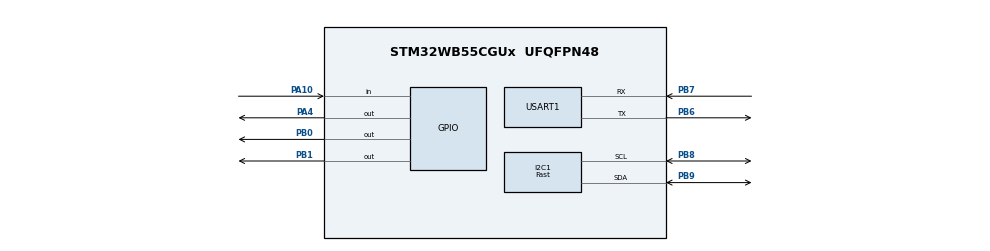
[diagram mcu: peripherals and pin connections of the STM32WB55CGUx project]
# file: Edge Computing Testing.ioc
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I2C1.I2C_Speed_Mode=I2C_Fast
I2C1.Timing=0x00000003
Mcu.Family=STM32WB
Mcu.Name=STM32WB55CGUx
Mcu.Package=UFQFPN48
NVIC.PriorityGroup=NVIC_PRIORITYGROUP_4
OSC_IN.GPIO_Label=RCC_OSC_IN
OSC_IN.Signal=RCC_OSC_IN
OSC_OUT.GPIO_Label=RCC_OSC_OUT
OSC_OUT.Signal=RCC_OSC_OUT
PA10.Signal=GPIO_Input
PA11.GPIO_Label=USB_DM
PA11.Signal=USB_DM
PA12.GPIO_Label=USB_DP
PA12.Signal=USB_DP
PA13.GPIO_Label=JTMS
PA13.Signal=SYS_JTMS-SWDIO
PA14.GPIO_Label=JTCK
PA14.Signal=SYS_JTCK-SWCLK
PA4.Signal=GPIO_Output
PB0.Signal=GPIO_Output
PB1.Signal=GPIO_Output
PB3.GPIO_Label=JTDO
PB3.Signal=SYS_JTDO-SWO
PB6.Mode=Asynchronous
PB6.Signal=USART1_TX
PB7.Mode=Asynchronous
PB7.Signal=USART1_RX
PB8.Mode=I2C
PB8.Signal=I2C1_SCL
PB9.Mode=I2C
PB9.Signal=I2C1_SDA
PC14-OSC32_IN.GPIO_Label=RCC_OSC32_IN
PC14-OSC32_IN.Signal=RCC_OSC32_IN
PC15-OSC32_OUT.GPIO_Label=RCC_OSC32_OUT
PC15-OSC32_OUT.Signal=RCC_OSC32_OUT
ProjectManager.HeapSize=0x200
ProjectManager.StackSize=0x400
ProjectManager.TargetToolchain=STM32CubeIDE
RCC.ADCFreq_Value=48000000
RCC.AHBFreq_Value=4000000
RCC.APB1Freq_Value=4000000
RCC.APB1TimFreq_Value=4000000
RCC.APB2Freq_Value=4000000
RCC.APB2TimFreq_Value=4000000
RCC.APB3Freq_Value=16000000
RCC.CortexFreq_Value=4000000
RCC.HCLKFreq_Value=4000000
RCC.HSE_VALUE=32000000
RCC.HSI48_VALUE=48000000
RCC.HSI_VALUE=16000000
RCC.LSE_VALUE=32768
RCC.PLLN=32
RCC.PLLSAI1N=24
RCC.SMPSDivider=1
RCC.SYSCLKFreq_VALUE=4000000
RCC.USBFreq_Value=48000000
RCC.VCOOutputFreq_Value=128000000
USART1.VirtualMode-Asynchronous=VM_ASYNC
VP_MEMORYMAP_VS_MEMORYMAP.Mode=CurAppReg
VP_P-NUCLEO-WB55-USBDONGLE_VS_BSP_COMMON.Mode=COMMON
board=P-NUCLEO-WB55-USBDONGLE

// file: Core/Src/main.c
/* USER CODE BEGIN Header */
/**
  ******************************************************************************
  * @file           : main.c
  * @brief          : Main program body with BME688 Single Gas Resistance reading,
  *                   Time-based Warm-up, Calibration, and Normalised NanoEdge AI
  ******************************************************************************
  * @attention
  *
  * Copyright (c) 2025 STMicroelectronics.
  * All rights reserved.
  *
  * This software is licensed under terms that can be found in the LICENSE file
  * in the root directory of this software component.
  * If no LICENSE file comes with this software, it is provided AS-IS.
  *
  ******************************************************************************
  */
/* USER CODE END Header */
#include "main.h"
#include "NanoEdgeAI.h"
/* USER CODE BEGIN Includes */
#include <stdio.h>
/* USER CODE END Includes */
/* USER CODE BEGIN PTD */
typedef struct {
    // Temperature
    uint16_t par_t1;
    int16_t  par_t2;
    int8_t   par_t3;
    // Pressure
    uint16_t par_p1;
    int16_t  par_p2;
    int8_t   par_p3;
    int16_t  par_p4;
    int16_t  par_p5;
    int8_t   par_p6;
    int8_t   par_p7;
    int16_t  par_p8;
    int16_t  par_p9;
    uint8_t  par_p10;
    // Humidity
    uint16_t par_h1;
    uint16_t par_h2;
    int8_t   par_h3;
    int8_t   par_h4;
    int8_t   par_h5;
    uint8_t  par_h6;
    int8_t   par_h7;
    // Gas Resistance
    int8_t   par_g1;
    int16_t  par_g2;
    int8_t   par_g3;
    uint8_t  res_heat_range;
    int8_t   res_heat_val;
    // Global temperature fine value (required for P/H calc)
    int32_t  t_fine;
} BME688_Calib;
typedef struct {
    float temperature;
    float pressure;
    float humidity;
    float gas_resistance;
} BME688_Data;
/* USER CODE END PTD */
/* USER CODE BEGIN PD */
/* BME688 Device Definitions */
#define BME688_ADDR 0x76 << 1
#define REG_ID      0xD0
#define REG_RESET   0xE0
#define REG_CTRL_HUM 0x72
#define REG_CTRL_MEAS 0x74
#define REG_CONFIG  0x75
#define REG_CTRL_GAS_1 0x71
#define REG_CTRL_GAS_0 0x70
/* BME688 Data Registers */
#define REG_PRESS_MSB 0x1F
#define REG_TEMP_MSB  0x22
#define REG_HUM_MSB   0x25
#define REG_GAS_WAIT_0 0x64
#define REG_RES_HEAT_0 0x5A
#define REG_GAS_MSB    0x2C
/* USER CODE END PD */
I2C_HandleTypeDef hi2c1;
UART_HandleTypeDef huart1;
/* USER CODE BEGIN PV */
extern UART_HandleTypeDef huart1;
static BME688_Calib calib;
enum neai_state neai_status;
int id_class;

// NanoEdge expects exactly 4 features (Temperature, Humidity, Pressure, Gas Ratio)
float input_signal[4];
float probabilities[NEAI_NUMBER_OF_CLASSES];

/* Time-based Warm-up and Baseline Calibration variables */
uint32_t start_time_ms = 0;
float gas_baseline = 0.0f;  // Single baseline resistance
float gas_sum = 0.0f;       // Aggregator for clean air gas resistance
uint32_t gas_count = 0;
uint8_t calibration_complete = 0;
/* USER CODE END PV */
void SystemClock_Config(void);
void PeriphCommonClock_Config(void);
static void MX_GPIO_Init(void);
static void MX_I2C1_Init(void);
static void MX_USART1_UART_Init(void);
/* USER CODE BEGIN PFP */
void BME688_Init(I2C_HandleTypeDef *hi2c);
uint8_t BME688_CalcHeaterRes(uint16_t target_temp, uint16_t amb_temp);
void BME688_TriggerMeasurement(I2C_HandleTypeDef *hi2c);
int32_t BME688_ReadTemperature(I2C_HandleTypeDef *hi2c, int field);
int32_t BME688_ReadPressure(I2C_HandleTypeDef *hi2c, int field);
int32_t BME688_ReadHumidity(I2C_HandleTypeDef *hi2c, int field);
int32_t BME688_ReadGasResistance(I2C_HandleTypeDef *hi2c, int field);
int BME688_GetNewestField(I2C_HandleTypeDef *hi2c);
/* USER CODE END PFP */
/* USER CODE BEGIN 0 */
int __io_putchar(int ch)
{
    HAL_UART_Transmit(&huart1, (uint8_t*)&ch, 1, HAL_MAX_DELAY);
    return ch;
}
/* USER CODE END 0 */
void BME688_Init(I2C_HandleTypeDef *hi2c) {
    uint8_t coeff_array1[25]; // 0x89 to 0xA1
    uint8_t coeff_array2[16]; // 0xE1 to 0xF0
    uint8_t heat_calib[3];    // 0x00 to 0x02
    // Read calibration data
    HAL_I2C_Mem_Read(hi2c, BME688_ADDR, 0x89, 1, coeff_array1, 25, 100);
    HAL_I2C_Mem_Read(hi2c, BME688_ADDR, 0xE1, 1, coeff_array2, 16, 100);
    HAL_I2C_Mem_Read(hi2c, BME688_ADDR, 0x00, 1, heat_calib, 3, 100);
    // Parse Temperature Calib
    calib.par_t1 = (uint16_t)((coeff_array2[9] << 8) | coeff_array2[8]);
    calib.par_t2 = (int16_t)((coeff_array1[2] << 8) | coeff_array1[1]);
    calib.par_t3 = (int8_t)(coeff_array1[3]);
    // Parse Pressure Calib
    calib.par_p1 = (uint16_t)((coeff_array1[6] << 8) | coeff_array1[5]);
    calib.par_p2 = (int16_t)((coeff_array1[8] << 8) | coeff_array1[7]);
    calib.par_p3 = (int8_t)(coeff_array1[9]);
    calib.par_p4 = (int16_t)((coeff_array1[12] << 8) | coeff_array1[11]);
    calib.par_p5 = (int16_t)((coeff_array1[14] << 8) | coeff_array1[13]);
    calib.par_p6 = (int8_t)(coeff_array1[16]);
    calib.par_p7 = (int8_t)(coeff_array1[15]);
    calib.par_p8 = (int16_t)((coeff_array1[20] << 8) | coeff_array1[19]);
    calib.par_p9 = (int16_t)((coeff_array1[22] << 8) | coeff_array1[21]);
    calib.par_p10 = (uint8_t)(coeff_array1[23]);
    // Parse Humidity Calib
    calib.par_h1 = (uint16_t)(((uint16_t)coeff_array2[2] << 4) | (coeff_array2[1] & 0x0F));
    calib.par_h2 = (uint16_t)(((uint16_t)coeff_array2[0] << 4) | ((coeff_array2[1] & 0xF0) >> 4));
    calib.par_h3 = (int8_t)coeff_array2[3];
    calib.par_h4 = (int8_t)coeff_array2[4];
    calib.par_h5 = (int8_t)coeff_array2[5];
    calib.par_h6 = (uint8_t)coeff_array2[6];
    calib.par_h7 = (int8_t)coeff_array2[7];
    // Parse Gas Calib
    calib.par_g1 = (int8_t)coeff_array2[12];
    calib.par_g2 = (int16_t)((coeff_array2[11] << 8) | coeff_array2[10]);
    calib.par_g3 = (int8_t)coeff_array2[13];
    calib.res_heat_val = (int8_t)heat_calib[0];
    calib.res_heat_range = (uint8_t)((heat_calib[2] >> 4) & 0x03);
}
uint8_t BME688_CalcHeaterRes(uint16_t target_temp, uint16_t amb_temp) {
    if (target_temp > 400) target_temp = 400;
    int32_t var1, var2, var3, var4, var5;
    int32_t res_heat_x100;
    uint8_t res_heat_x;
    var1 = (((int32_t)amb_temp * (int32_t)calib.par_g3) / 10) << 8;
    var2 = ((int32_t)calib.par_g1 + 784) *
           ((((((int32_t)calib.par_g2 + 154009) * (int32_t)target_temp * 5) / 100) + 3276800) / 10);
    var3 = var1 + (var2 >> 1);
    var4 = var3 / ((int32_t)calib.res_heat_range + 4);
    var5 = (131 * (int32_t)calib.res_heat_val) + 65536;
    res_heat_x100 = (((var4 / var5) - 250) * 34);
    res_heat_x = (uint8_t)((res_heat_x100 + 50) / 100);
    if (res_heat_x > 255) res_heat_x = 255;
    return res_heat_x;
}
void BME688_TriggerMeasurement(I2C_HandleTypeDef *hi2c) {
    uint8_t osrs_h = 0x01;
    HAL_I2C_Mem_Write(hi2c, BME688_ADDR, REG_CTRL_HUM, 1, &osrs_h, 1, 100);
    uint8_t res_heat = BME688_CalcHeaterRes(320, 25);
    HAL_I2C_Mem_Write(hi2c, BME688_ADDR, REG_RES_HEAT_0, 1, &res_heat, 1, 100);
    uint8_t gas_wait;
    uint16_t duration_ms = 250;
    if (duration_ms <= 63) {
        gas_wait = duration_ms;
    } else if (duration_ms <= 252) {
        gas_wait = 0x40 | ((duration_ms + 2) / 4);
    } else if (duration_ms <= 1008) {
        gas_wait = 0x80 | ((duration_ms + 8) / 16);
    } else {
        gas_wait = 0xC0 | ((duration_ms + 32) / 64);
    }
    HAL_I2C_Mem_Write(hi2c, BME688_ADDR, REG_GAS_WAIT_0, 1, &gas_wait, 1, 100);
    uint8_t ctrl_gas = 0x20;
    HAL_I2C_Mem_Write(hi2c, BME688_ADDR, REG_CTRL_GAS_1, 1, &ctrl_gas, 1, 100);
    uint8_t ctrl_meas = 0x55;
    HAL_I2C_Mem_Write(hi2c, BME688_ADDR, REG_CTRL_MEAS, 1, &ctrl_meas, 1, 100);
}
int BME688_GetNewestField(I2C_HandleTypeDef *hi2c) {
    uint8_t status;
    // Check Field 0 (Status Register: 0x1D)
    if (HAL_I2C_Mem_Read(hi2c, BME688_ADDR, 0x1D, 1, &status, 1, 100) == HAL_OK) {
        if (status & 0x80) {
            return 0;
        }
    }
    // Check Field 1 (Status Register: 0x2F)
    if (HAL_I2C_Mem_Read(hi2c, BME688_ADDR, 0x2F, 1, &status, 1, 100) == HAL_OK) {
        if (status & 0x80) {
            return 1;
        }
    }
    // Check Field 2 (Status Register: 0x41)
    if (HAL_I2C_Mem_Read(hi2c, BME688_ADDR, 0x41, 1, &status, 1, 100) == HAL_OK) {
        if (status & 0x80) {
            return 2;
        }
    }
    return -1;
}
int32_t BME688_ReadTemperature(I2C_HandleTypeDef *hi2c, int field) {
    uint8_t temp_data[3];
    uint8_t reg_addr = 0x22 + (field * 18);
    HAL_I2C_Mem_Read(hi2c, BME688_ADDR, reg_addr, 1, temp_data, 3, 100);
    uint32_t adc_t = (uint32_t)(((uint32_t)temp_data[0] << 12) |
                                 ((uint32_t)temp_data[1] << 4) |
                                 ((uint32_t)temp_data[2] >> 4));
    int64_t var1, var2, var3;
    var1 = ((int32_t)adc_t >> 3) - ((int32_t)calib.par_t1 << 1);
    var2 = (var1 * (int32_t)calib.par_t2) >> 11;
    var3 = ((((var1 >> 1) * (var1 >> 1)) >> 12) * ((int32_t)calib.par_t3 << 4)) >> 14;
    calib.t_fine = (int32_t)(var2 + var3);
    int32_t temperature = ((calib.t_fine * 5) + 128) >> 8;
    return temperature;
}
int32_t BME688_ReadPressure(I2C_HandleTypeDef *hi2c, int field) {
    uint8_t press_data[3];
    uint8_t reg_addr = 0x1F + (field * 18);
    HAL_I2C_Mem_Read(hi2c, BME688_ADDR, reg_addr, 1, press_data, 3, 100);
    uint32_t adc_p = (uint32_t)(((uint32_t)press_data[0] << 12) |
                                 ((uint32_t)press_data[1] << 4) |
                                 ((uint32_t)press_data[2] >> 4));
    int64_t var1, var2;
    var1 = ((int64_t)calib.t_fine >> 1) - 64000;
    var2 = ((((var1 >> 2) * (var1 >> 2)) >> 11) * (int64_t)calib.par_p6) >> 2;
    var2 = var2 + ((var1 * (int64_t)calib.par_p5) << 1);
    var2 = (var2 >> 2) + ((int64_t)calib.par_p4 << 16);
    var1 = (((((var1 >> 2) * (var1 >> 2)) >> 13) * ((int64_t)calib.par_p3 << 5)) >> 3) +
           (((int64_t)calib.par_p2 * var1) >> 1);
    var1 = var1 >> 18;
    var1 = ((32768 + var1) * (int64_t)calib.par_p1) >> 15;
    if (var1 == 0) return 0;
    uint32_t calc_pres = (uint32_t)(((uint32_t)(1048576 - adc_p) - (var2 >> 12)) * 3125);
    if (calc_pres < 0x80000000)
        calc_pres = (calc_pres << 1) / ((uint32_t)var1);
    else
        calc_pres = (calc_pres / (uint32_t)var1) * 2;
    var1 = ((int64_t)calib.par_p9 * (int64_t)(((calc_pres >> 3) * (calc_pres >> 3)) >> 13)) >> 12;
    var2 = ((int64_t)(calc_pres >> 2) * (int64_t)calib.par_p8) >> 13;
    int32_t var3_p = ((int32_t)(calc_pres >> 8) * (int32_t)(calc_pres >> 8) *
                      (int32_t)(calc_pres >> 8) * (int32_t)calib.par_p10) >> 17;
    calc_pres = (int32_t)(calc_pres) + ((var1 + var2 + var3_p + ((int64_t)calib.par_p7 << 7)) >> 4);
    return (int32_t)calc_pres;
}
int32_t BME688_ReadHumidity(I2C_HandleTypeDef *hi2c, int field) {
    uint8_t hum_data[2];
    uint8_t reg_addr = 0x25 + (field * 18);
    HAL_I2C_Mem_Read(hi2c, BME688_ADDR, reg_addr, 1, hum_data, 2, 100);
    uint16_t adc_h = (uint16_t)(((uint32_t)hum_data[0] << 8) | (uint32_t)hum_data[1]);
    int32_t var1, var2, var3, var4, var5, var6;
    int32_t temp_scaled;
    temp_scaled = (((int32_t)calib.t_fine * 5) + 128) >> 8;
    var1 = (int32_t)adc_h - ((int32_t)((int32_t)calib.par_h1 * 16)) -
           (((temp_scaled * (int32_t)calib.par_h3) / ((int32_t)100)) >> 1);
    var2 = ((int32_t)calib.par_h2 *
           (((temp_scaled * (int32_t)calib.par_h4) / ((int32_t)100)) +
           (((temp_scaled * ((temp_scaled * (int32_t)calib.par_h5) / ((int32_t)100))) >> 6) /
           ((int32_t)100)) + (int32_t)(1 << 14))) >> 10;
    var3 = var1 * var2;
    var4 = (int32_t)calib.par_h6 << 7;
    var4 = ((var4) + ((temp_scaled * (int32_t)calib.par_h7) / ((int32_t)100))) >> 4;
    var5 = ((var3 >> 14) * (var3 >> 14)) >> 10;
    var6 = (var4 * var5) >> 1;
    int32_t calc_hum = (((var3 + var6) >> 10) * ((int32_t)1000)) >> 12;
    if (calc_hum > 100000) calc_hum = 100000;
    if (calc_hum < 0) calc_hum = 0;
    return calc_hum;
}
int32_t BME688_ReadGasResistance(I2C_HandleTypeDef *hi2c, int field) {
    uint8_t gas_data[2];
    uint8_t reg_addr = 0x2C + (field * 18);
    HAL_I2C_Mem_Read(hi2c, BME688_ADDR, reg_addr, 1, gas_data, 2, 100);
    uint8_t gas_msb = gas_data[0];
    uint8_t gas_lsb = gas_data[1];
    int gas_valid = (gas_lsb & 0x20);
    int heat_stab = (gas_lsb & 0x10);
    if (!gas_valid || !heat_stab) {
        return 0;
    }
    uint16_t gas_adc = ((uint16_t)gas_msb << 2) | ((uint16_t)(gas_lsb >> 6) & 0x03);
    uint8_t gas_range = gas_lsb & 0x0F;
    uint32_t var1 = 262144UL >> gas_range;
    int32_t var2 = (int32_t)gas_adc - 512;
    var2 = var2 * 3 + 4096;
    if (var2 != 0) {
        uint32_t gas_res = (10000UL * var1) / (uint32_t)var2;
        gas_res = gas_res * 100;
        return (int32_t)gas_res;
    }
    return 0;
}
int main(void)
{
  /* MCU Configuration--------------------------------------------------------*/
  /* Reset of all peripherals, Initializes the Flash interface and the Systick. */
  HAL_Init();
  /* Configure the system clock */
  SystemClock_Config();
  /* Configure the peripherals common clocks */
  PeriphCommonClock_Config();
  /* Initialize all configured peripherals */
  MX_GPIO_Init();
  MX_I2C1_Init();
  MX_USART1_UART_Init();
  /* USER CODE BEGIN 2 */
  // Initialize start time for timing phases
  start_time_ms = HAL_GetTick();
  printf("\r\n==================================================\r\n");
  printf("  BME688 SENSOR SINGLE-GAS CLASSIFIER STARTS\r\n");
  printf("==================================================\r\n");
  printf("Phase 1: Warm-up & Sensor Stabilization (1 minute)\r\n");
  printf("Please keep sensor in CLEAN AIR environment...\r\n");
  printf("--------------------------------------------------\r\n\r\n");
  // 1. Initialize the sensor
  BME688_Init(&hi2c1);
  neai_status = neai_classification_init();
  if(neai_status != NEAI_OK)
  {
      printf("NanoEdge Init Failed\r\n");
      Error_Handler();
  }
  else
  {
      printf("NanoEdge Init Success\r\n");
  }
  // 2. Trigger the very first measurement so it is ready
  BME688_TriggerMeasurement(&hi2c1);
  /* USER CODE END 2 */
  /* Infinite loop */
  while (1)
  {

    // 1. Trigger the single gas measurement (uses 320°C heater for 250ms)
    BME688_TriggerMeasurement(&hi2c1);

    // Wait for the measurement to complete (250ms heating + 30ms sensor readout overhead)
    HAL_Delay(280);

    // 2. Dynamically retrieve the field index containing the fresh measurement
    int field = BME688_GetNewestField(&hi2c1);
    if (field == -1) {
        field = 0; // Fallback to field 0 if no new data flag was set
    }

    // 3. Read the raw environmental and single gas resistance values
    int32_t raw_temp     = BME688_ReadTemperature(&hi2c1, field);     // centidegrees
    int32_t raw_pressure = BME688_ReadPressure(&hi2c1, field);        // Pa
    int32_t raw_humidity = BME688_ReadHumidity(&hi2c1, field);        // millipercent
    int32_t raw_gas      = BME688_ReadGasResistance(&hi2c1, field);   // Ohms

    // Convert raw BME688 values to human-readable standard floats
    float temp_f  = (float)raw_temp / 100.0f;
    float press_f = (float)raw_pressure / 100.0f;
    float hum_f   = (float)raw_humidity / 1000.0f;

    // Time calculations
    uint32_t elapsed_ms = HAL_GetTick() - start_time_ms;

    // ==============================================================
    // PHASE 1: WARM-UP & STABILIZATION (0 to 60,000 ms = First 1 Min)
    // ==============================================================
    if (elapsed_ms < 60000)
    {
        uint32_t remaining = (60000 - elapsed_ms) / 1000;
        printf("[WARMUP] Ignoring data... %2lu sec remaining. Gas: %ld Ohms\r\n",
               remaining, raw_gas);
    }
    // ==============================================================
    // PHASE 2: RECORD & CALIBRATE BASELINE (60,000 to 180,000 ms = Next 2 Mins)
    // ==============================================================
    else if (elapsed_ms >= 60000 && elapsed_ms < 180000)
    {
        uint32_t remaining = (180000 - elapsed_ms) / 1000;

        static uint8_t calib_started = 0;
        if (!calib_started) {
            printf("\r\n--------------------------------------------------\r\n");
            printf("Phase 2: Recording Clean Air Gas Baseline (2 minutes)\r\n");
            printf("Keep sensor in CLEAN AIR to collect baseline reference...\r\n");
            printf("--------------------------------------------------\r\n\r\n");
            calib_started = 1;
        }

        // Accumulate baseline values for the single gas resistance step!
        if (raw_gas > 0)
        {
            gas_sum += (float)raw_gas;
            gas_count++;
            printf("[CALIBRATION] Recording baseline... %3lu sec remaining. Gas: %ld Ohms (Count: %lu)\r\n",
                   remaining, raw_gas, gas_count);
        }
        else
        {
            printf("[CALIBRATION] Recording... %3lu sec remaining. [Sensor Waiting]\r\n", remaining);
        }
    }
    // ==============================================================
    // PHASE 3: LIVE TESTING & NANOEDGE AI CLASSIFICATION (>= 180,000 ms)
    // ==============================================================
    else
    {
        // One-time baseline calculation when transitioning to Phase 3
        if (!calibration_complete)
        {
            if (gas_count > 0)
            {
                gas_baseline = gas_sum / gas_count;
                printf("\r\n==================================================\r\n");
                printf("  CALIBRATION COMPLETE!\r\n");
                printf("  Established Baseline (R0) for Single Gas: %.2f Ohms\r\n", gas_baseline);
                printf("  Starting Live NanoEdge AI Testing...\r\n");
                printf("==================================================\r\n\r\n");
            }
            else
            {
                // Fallback baseline value if no readings succeeded
                gas_baseline = 17800.0f; // Default baseline based on Experiment 1 clean air median
                printf("\r\n==================================================\r\n");
                printf("  CALIBRATION WARNING!\r\n");
                printf("  No valid gas readings during calibration phase. Using fallback R0: %.2f Ohms\r\n", gas_baseline);
                printf("==================================================\r\n\r\n");
            }
            calibration_complete = 1;
        }

        // Normalize single gas resistance using the clean air baseline reference R0
        float normalized_gas = 1.0f; // Default ratio
        if (raw_gas > 0 && gas_baseline > 0.0f) {
            normalized_gas = (float)raw_gas / gas_baseline;
        }

        // Fill NanoEdge AI input buffer matching the CSV schema:
        // Index 0: Temperature, Index 1: Pressure, Index 2: Humidity, Index 3: Gas Ratio
        input_signal[0] = temp_f;
        input_signal[1] = press_f;
        input_signal[2] = hum_f;
        input_signal[3] = normalized_gas;

        /* Run NanoEdge AI classification */
        neai_status = neai_classification(input_signal, probabilities, &id_class);
                if(neai_status == NEAI_OK)
                {
                    const char *class_name = neai_get_class_name(id_class);
                    printf("[TESTING] Pred: %s (Prob: %.2f) | Probs -> [", class_name, probabilities[id_class]);

                    // Dynamically print the probability of every class in the library
                    for (int i = 0; i < NEAI_NUMBER_OF_CLASSES; i++) {
                        printf("%s: %.2f", neai_get_class_name(i), probabilities[i]);
                        if (i < NEAI_NUMBER_OF_CLASSES - 1) {
                            printf(", ");
                        }
                    }
                    printf("] | Temp: %.2fC | Hum: %.2f%% | Gas Ratio: %.3f (Raw: %ld Ohms)\r\n",
                           temp_f,
                           hum_f,
                           normalized_gas,
                           raw_gas);
                }
                else
                {
                    printf("[TESTING] Classification Error (%d)\r\n", neai_status);
                }
            }
    HAL_Delay(1000); // 1-second interval between loop cycles
  }
}
void SystemClock_Config(void)
{
  RCC_OscInitTypeDef RCC_OscInitStruct = {0};
  RCC_ClkInitTypeDef RCC_ClkInitStruct = {0};
  /** Configure the main internal regulator output voltage
  */
  __HAL_PWR_VOLTAGESCALING_CONFIG(PWR_REGULATOR_VOLTAGE_SCALE1);
  /** Initializes the RCC Oscillators according to the specified parameters
  * in the RCC_OscInitTypeDef structure.
  */
  RCC_OscInitStruct.OscillatorType = RCC_OSCILLATORTYPE_HSI|RCC_OSCILLATORTYPE_MSI;
  RCC_OscInitStruct.HSIState = RCC_HSI_ON;
  RCC_OscInitStruct.MSIState = RCC_MSI_ON;
  RCC_OscInitStruct.HSICalibrationValue = RCC_HSICALIBRATION_DEFAULT;
  RCC_OscInitStruct.MSICalibrationValue = RCC_MSICALIBRATION_DEFAULT;
  RCC_OscInitStruct.MSIClockRange = RCC_MSIRANGE_6;
  RCC_OscInitStruct.PLL.PLLState = RCC_PLL_NONE;
  if (HAL_RCC_OscConfig(&RCC_OscInitStruct) != HAL_OK)
  {
    Error_Handler();
  }
  /** Configure the SYSCLKSource, HCLK, PCLK1 and PCLK2 clocks dividers
  */
  RCC_ClkInitStruct.ClockType = RCC_CLOCKTYPE_HCLK4|RCC_CLOCKTYPE_HCLK2
                              |RCC_CLOCKTYPE_HCLK|RCC_CLOCKTYPE_SYSCLK
                              |RCC_CLOCKTYPE_PCLK1|RCC_CLOCKTYPE_PCLK2;
  RCC_ClkInitStruct.SYSCLKSource = RCC_SYSCLKSOURCE_MSI;
  RCC_ClkInitStruct.AHBCLKDivider = RCC_SYSCLK_DIV1;
  RCC_ClkInitStruct.APB1CLKDivider = RCC_HCLK_DIV1;
  RCC_ClkInitStruct.APB2CLKDivider = RCC_HCLK_DIV1;
  RCC_ClkInitStruct.AHBCLK2Divider = RCC_SYSCLK_DIV1;
  RCC_ClkInitStruct.AHBCLK4Divider = RCC_SYSCLK_DIV1;
  if (HAL_RCC_ClockConfig(&RCC_ClkInitStruct, FLASH_LATENCY_0) != HAL_OK)
  {
    Error_Handler();
  }
}
void PeriphCommonClock_Config(void)
{
  RCC_PeriphCLKInitTypeDef PeriphClkInitStruct = {0};
  /** Initializes the peripherals clock
  */
  PeriphClkInitStruct.PeriphClockSelection = RCC_PERIPHCLK_SMPS;
  PeriphClkInitStruct.SmpsClockSelection = RCC_SMPSCLKSOURCE_HSI;
  PeriphClkInitStruct.SmpsDivSelection = RCC_SMPSCLKDIV_RANGE0;
  if (HAL_RCCEx_PeriphCLKConfig(&PeriphClkInitStruct) != HAL_OK)
  {
    Error_Handler();
  }
}
static void MX_I2C1_Init(void)
{
  hi2c1.Instance = I2C1;
  hi2c1.Init.Timing = 0x00000003;
  hi2c1.Init.OwnAddress1 = 0;
  hi2c1.Init.AddressingMode = I2C_ADDRESSINGMODE_7BIT;
  hi2c1.Init.DualAddressMode = I2C_DUALADDRESS_DISABLE;
  hi2c1.Init.OwnAddress2 = 0;
  hi2c1.Init.OwnAddress2Masks = I2C_OA2_NOMASK;
  hi2c1.Init.GeneralCallMode = I2C_GENERALCALL_DISABLE;
  hi2c1.Init.NoStretchMode = I2C_NOSTRETCH_DISABLE;
  if (HAL_I2C_Init(&hi2c1) != HAL_OK)
  {
    Error_Handler();
  }
  /** Configure Analogue filter
  */
  if (HAL_I2CEx_ConfigAnalogFilter(&hi2c1, I2C_ANALOGFILTER_ENABLE) != HAL_OK)
  {
    Error_Handler();
  }
  /** Configure Digital filter
  */
  if (HAL_I2CEx_ConfigDigitalFilter(&hi2c1, 0) != HAL_OK)
  {
    Error_Handler();
  }
}
static void MX_USART1_UART_Init(void)
{
  huart1.Instance = USART1;
  huart1.Init.BaudRate = 115200;
  huart1.Init.WordLength = UART_WORDLENGTH_8B;
  huart1.Init.StopBits = UART_STOPBITS_1;
  huart1.Init.Parity = UART_PARITY_NONE;
  huart1.Init.Mode = UART_MODE_TX_RX;
  huart1.Init.HwFlowCtl = UART_HWCONTROL_NONE;
  huart1.Init.OverSampling = UART_OVERSAMPLING_16;
  huart1.Init.OneBitSampling = UART_ONE_BIT_SAMPLE_DISABLE;
  huart1.Init.ClockPrescaler = UART_PRESCALER_DIV1;
  huart1.AdvancedInit.AdvFeatureInit = UART_ADVFEATURE_NO_INIT;
  if (HAL_UART_Init(&huart1) != HAL_OK)
  {
    Error_Handler();
  }
  if (HAL_UARTEx_SetTxFifoThreshold(&huart1, UART_TXFIFO_THRESHOLD_1_8) != HAL_OK)
  {
    Error_Handler();
  }
  if (HAL_UARTEx_SetRxFifoThreshold(&huart1, UART_RXFIFO_THRESHOLD_1_8) != HAL_OK)
  {
    Error_Handler();
  }
  if (HAL_UARTEx_DisableFifoMode(&huart1) != HAL_OK)
  {
    Error_Handler();
  }
}
static void MX_GPIO_Init(void)
{
  GPIO_InitTypeDef GPIO_InitStruct = {0};
  /* GPIO Ports Clock Enable */
  __HAL_RCC_GPIOC_CLK_ENABLE();
  __HAL_RCC_GPIOB_CLK_ENABLE();
  __HAL_RCC_GPIOA_CLK_ENABLE();
  /*Configure GPIO pins : USB_DM_Pin USB_DP_Pin */
  GPIO_InitStruct.Pin = USB_DM_Pin|USB_DP_Pin;
  GPIO_InitStruct.Mode = GPIO_MODE_AF_PP;
  GPIO_InitStruct.Pull = GPIO_NOPULL;
  GPIO_InitStruct.Speed = GPIO_SPEED_FREQ_LOW;
  GPIO_InitStruct.Alternate = GPIO_AF10_USB;
  HAL_GPIO_Init(GPIOA, &GPIO_InitStruct);
}
void Error_Handler(void)
{
  __disable_irq();
  while (1)
  {
  }
}
